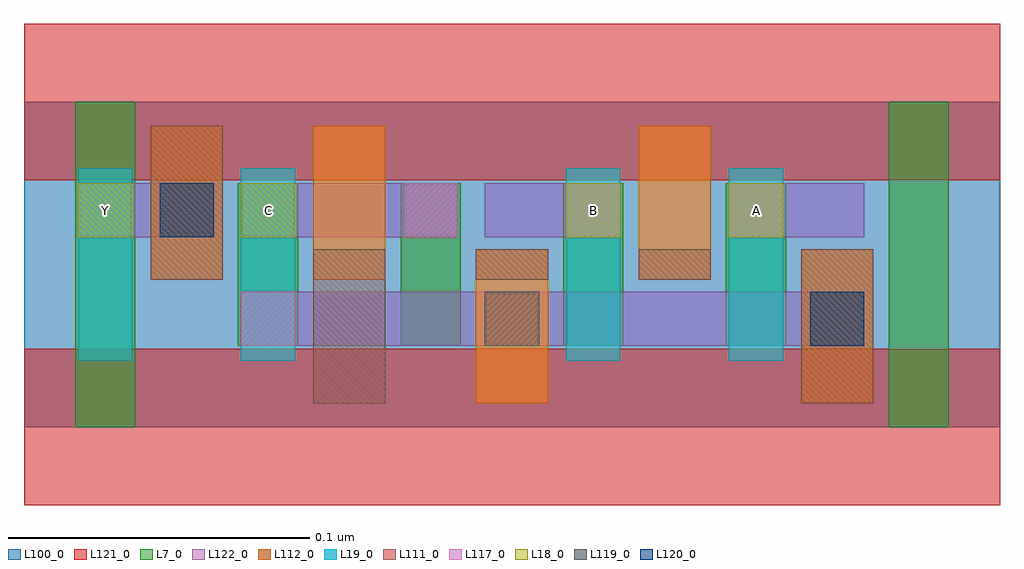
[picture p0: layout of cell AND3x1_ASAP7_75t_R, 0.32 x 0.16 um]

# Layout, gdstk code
import gdstk
lib = gdstk.Library(unit=1e-6, precision=2.5e-10)
def R(c, l, rs):  # rectangles x0, y0, x1, y1
    for r in rs: c.add(gdstk.rectangle(r[:2], r[2:], *l))
def A(c, l, x, y, w, h, nx, ny, dx, dy):  # array of equal rectangles
    R(c, l, [(x+i*dx, y+j*dy, x+i*dx+w, y+j*dy+h) for i in range(nx) for j in range(ny)])
L7_0 = (7, 0)
L18_0 = (18, 0)
L19_0 = (19, 0)
L100_0 = (100, 0)
L111_0 = (111, 0)
L112_0 = (112, 0)
L117_0 = (117, 0)
L119_0 = (119, 0)
L120_0 = (120, 0)
L121_0 = (121, 0)
L122_0 = (122, 0)

and3x1_asap7_75t_r = lib.new_cell('AND3x1_ASAP7_75t_R')
A(and3x1_asap7_75t_r, L7_0, 0.071, 0.027, 0.02, 0.054, 4, 1, 0.054, 0)
R(and3x1_asap7_75t_r, L7_0, [(0.017,0,0.037,0.108), (0.287,0,0.307,0.108)])
R(and3x1_asap7_75t_r, L18_0, [(0.018,0.063,0.036,0.081), (0.072,0.063,0.09,0.081), (0.18,0.063,0.198,0.081), (0.234,0.063,0.252,0.081)])
R(and3x1_asap7_75t_r, L19_0, [(0.018,0.022,0.036,0.086), (0.072,0.022,0.09,0.086), (0.18,0.022,0.198,0.086), (0.234,0.022,0.252,0.086)])
R(and3x1_asap7_75t_r, L100_0, [(0,0,0.324,0.108)])
R(and3x1_asap7_75t_r, L111_0, [(0.096,0.008,0.12,0.059), (0.258,0.008,0.282,0.059), (0.042,0.049,0.066,0.1), (0.15,0.049,0.174,0.059), (0.204,0.049,0.228,0.059)])
R(and3x1_asap7_75t_r, L112_0, [(0.15,0.008,0.174,0.059), (0.258,0.008,0.282,0.059), (0.042,0.049,0.066,0.1), (0.096,0.049,0.12,0.1), (0.204,0.049,0.228,0.1)])
A(and3x1_asap7_75t_r, L117_0, 0.126, 0.063, 0.018, 0.018, 3, 1, 0.054, 0)
R(and3x1_asap7_75t_r, L117_0, [(0.072,0.027,0.09,0.045)])
R(and3x1_asap7_75t_r, L119_0, [(0.153,0.027,0.171,0.045), (0.261,0.027,0.279,0.045), (0.045,0.063,0.063,0.081)])
R(and3x1_asap7_75t_r, L120_0, [(0.261,0.027,0.279,0.045), (0.045,0.063,0.063,0.081)])
R(and3x1_asap7_75t_r, L121_0, [(0,-0.026,0.324,0.026), (0,0.082,0.324,0.134)])
R(and3x1_asap7_75t_r, L122_0, [(0.072,0.027,0.279,0.045), (0.018,0.063,0.063,0.081), (0.072,0.063,0.144,0.081), (0.153,0.063,0.198,0.081), (0.234,0.063,0.279,0.081)])
and3x1_asap7_75t_r.add(gdstk.Label('Y', (0.027,0.072), layer=19, texttype=251))
and3x1_asap7_75t_r.add(gdstk.Label('C', (0.081,0.072), layer=19, texttype=251))
and3x1_asap7_75t_r.add(gdstk.Label('B', (0.189,0.072), layer=19, texttype=251))
and3x1_asap7_75t_r.add(gdstk.Label('A', (0.243,0.072), layer=19, texttype=251))

lib.write_gds('AND3x1_ASAP7_75t_R.gds')
